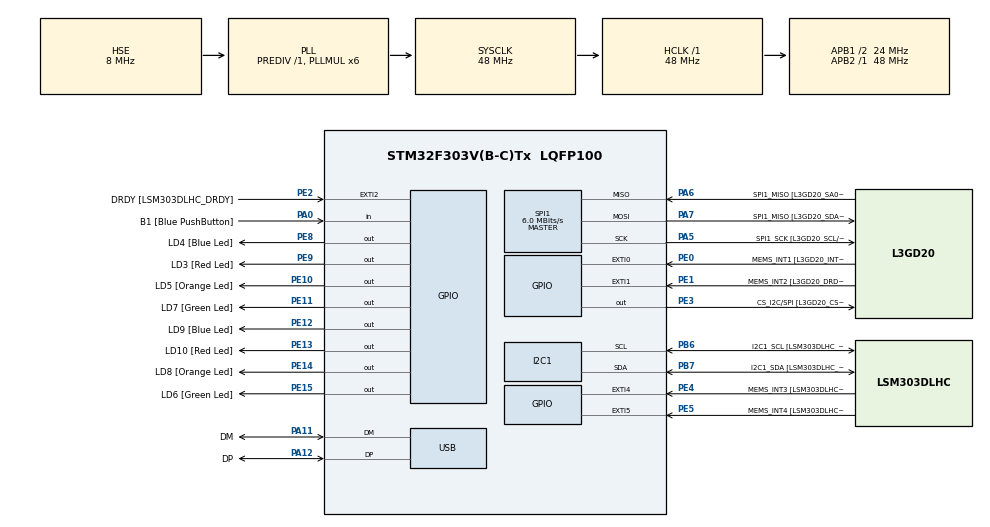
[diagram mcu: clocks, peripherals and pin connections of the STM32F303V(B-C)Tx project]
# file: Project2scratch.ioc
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I2C1.Timing=0x00201D2B
I2C1.Timing-I2C=0x2000090E
Mcu.Family=STM32F3
Mcu.Name=STM32F303V(B-C)Tx
Mcu.Package=LQFP100
NVIC.PriorityGroup=NVIC_PRIORITYGROUP_0
NVIC.USB_LP_CAN_RX0_IRQn=true\:0\:0\:false\:false\:true\:false\:true\:true
PA0.GPIO_Label=B1 [Blue PushButton]
PA0.Signal=GPIO_Input
PA11.GPIO_Label=DM
PA11.Mode=Device
PA11.Signal=USB_DM
PA12.GPIO_Label=DP
PA12.Mode=Device
PA12.Signal=USB_DP
PA13.GPIO_Label=SWDIO
PA13.Mode=Serial_Wire
PA13.Signal=SYS_JTMS-SWDIO
PA14.GPIO_Label=SWCLK
PA14.Mode=Serial_Wire
PA14.Signal=SYS_JTCK-SWCLK
PA5.GPIO_Label=SPI1_SCK [L3GD20_SCL/SPC]
PA5.Mode=Full_Duplex_Master
PA5.Signal=SPI1_SCK
PA6.GPIO_Label=SPI1_MISO [L3GD20_SA0/SDO]
PA6.Mode=Full_Duplex_Master
PA6.Signal=SPI1_MISO
PA7.GPIO_Label=SPI1_MISO [L3GD20_SDA/SDI/SDO]
PA7.Mode=Full_Duplex_Master
PA7.Signal=SPI1_MOSI
PB3.GPIO_Label=SWO
PB3.Signal=SYS_JTDO-TRACESWO
PB6.GPIO_Label=I2C1_SCL [LSM303DLHC_SCL]
PB6.GPIO_Pu=GPIO_PULLUP
PB6.Mode=I2C
PB6.Signal=I2C1_SCL
PB7.GPIO_Label=I2C1_SDA [LSM303DLHC_SDA]
PB7.GPIO_Pu=GPIO_PULLUP
PB7.Mode=I2C
PB7.Signal=I2C1_SDA
PC14-OSC32_IN.GPIO_Label=OSC32_IN
PC14-OSC32_IN.Signal=RCC_OSC32_IN
PC15-OSC32_OUT.GPIO_Label=OSC32_OUT
PC15-OSC32_OUT.Signal=RCC_OSC32_OUT
PE0.GPIO_Label=MEMS_INT1 [L3GD20_INT1]
PE0.GPIO_ModeDefaultEXTI=GPIO_MODE_EVT_RISING
PE0.Signal=GPXTI0
PE1.GPIO_Label=MEMS_INT2 [L3GD20_DRDY/INT2]
PE1.GPIO_ModeDefaultEXTI=GPIO_MODE_EVT_RISING
PE1.Signal=GPXTI1
PE10.GPIO_Label=LD5 [Orange Led]
PE10.Signal=GPIO_Output
PE11.GPIO_Label=LD7 [Green Led]
PE11.Signal=GPIO_Output
PE12.GPIO_Label=LD9 [Blue Led]
PE12.Signal=GPIO_Output
PE13.GPIO_Label=LD10 [Red Led]
PE13.Signal=GPIO_Output
PE14.GPIO_Label=LD8 [Orange Led]
PE14.Signal=GPIO_Output
PE15.GPIO_Label=LD6 [Green Led]
PE15.Signal=GPIO_Output
PE2.GPIO_Label=DRDY [LSM303DLHC_DRDY]
PE2.GPIO_ModeDefaultEXTI=GPIO_MODE_EVT_RISING
PE2.Signal=GPXTI2
PE3.GPIO_Label=CS_I2C/SPI [L3GD20_CS_I2C/SPI]
PE3.Signal=GPIO_Output
PE4.GPIO_Label=MEMS_INT3 [LSM303DLHC_INT1]
PE4.GPIO_ModeDefaultEXTI=GPIO_MODE_EVT_RISING
PE4.Signal=GPXTI4
PE5.GPIO_Label=MEMS_INT4 [LSM303DLHC_INT2]
PE5.GPIO_ModeDefaultEXTI=GPIO_MODE_EVT_RISING
PE5.Signal=GPXTI5
PE8.GPIO_Label=LD4 [Blue Led]
PE8.Signal=GPIO_Output
PE9.GPIO_Label=LD3 [Red Led]
PE9.Signal=GPIO_Output
PF0-OSC_IN.GPIO_Label=OSC_IN
PF0-OSC_IN.Mode=HSE-External-Clock-Source
PF0-OSC_IN.Signal=RCC_OSC_IN
PF1-OSC_OUT.GPIO_Label=OSC_OUT
PF1-OSC_OUT.Signal=RCC_OSC_OUT
ProjectManager.HeapSize=0x200
ProjectManager.StackSize=0x400
ProjectManager.TargetToolchain=STM32CubeIDE
RCC.AHBFreq_Value=48000000
RCC.APB1CLKDivider=RCC_HCLK_DIV2
RCC.APB1Freq_Value=24000000
RCC.APB1TimFreq_Value=48000000
RCC.APB2Freq_Value=48000000
RCC.APB2TimFreq_Value=48000000
RCC.CortexFreq_Value=48000000
RCC.HCLKFreq_Value=48000000
RCC.HSE_VALUE=8000000
RCC.HSI_VALUE=8000000
RCC.LSE_VALUE=32768
RCC.PLLMUL=RCC_PLL_MUL6
RCC.SYSCLKFreq_VALUE=48000000
RCC.SYSCLKSourceVirtual=RCC_SYSCLKSOURCE_PLLCLK
RCC.USBFreq_Value=48000000
SPI1.BaudRatePrescaler=SPI_BAUDRATEPRESCALER_8
SPI1.BaudRatePrescaler-Full_Duplex_Master=SPI_BAUDRATEPRESCALER_2
SPI1.CalculateBaudRate=6.0 MBits/s
SPI1.CalculateBaudRate-Full_Duplex_Master=24.0 MBits/s
SPI1.DataSize=SPI_DATASIZE_8BIT
SPI1.Direction=SPI_DIRECTION_2LINES
SPI1.Mode=SPI_MODE_MASTER
SPI1.Mode-Full_Duplex_Master=SPI_MODE_MASTER
SPI1.VirtualType=VM_MASTER
USB_DEVICE.CLASS_NAME_FS=CDC
USB_DEVICE.VirtualMode=Cdc
USB_DEVICE.VirtualModeFS=Cdc_FS
VP_USB_DEVICE_VS_USB_DEVICE_CDC_FS.Mode=CDC_FS
board=STM32F3DISCOVERY

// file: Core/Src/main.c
/* USER CODE BEGIN Header */
/**
  ******************************************************************************
  * @file           : main.c
  * @brief          : IMU Dead Reckoning – corrected firmware
  *
  * ACCELEROMETER CONVERSION (important to understand)
  * ---------------------------------------------------
  * LSM303DLHC_AccReadXYZ() returns raw 16-bit left-justified counts.
  * At ±2g HR mode: 1g = 16384 counts (12-bit left-justified in 16-bit).
  * Original code:  ax = acc_raw[0] / 16384.0f  → outputs in g-units
  * Python imu_receiver.py then multiplies by 9.81 → correct m/s²
  * This chain was CORRECT. We keep it.
  *
  * What was actually wrong
  * -----------------------
  * 1. Only 100 gyro calibration samples (~1 s) → poor bias estimate.
  *    Increased to 512 samples (~5.4 s) for a far better bias.
  *
  * 2. No accelerometer bias calibration.
  *    Added: collect 512 accel samples, subtract mean XY bias.
  *    Gravity axis is auto-detected and removed from bias.
  *
  * 3. HAL_Delay(10) was AFTER the CDC busy-wait → loop ran slower than
  *    100 Hz when USB was congested. Moved to TOP of loop.
  *
  * 4. Added on-board ZUPT flag as 8th CSV field (0/1).
  *    Python can use this directly without recomputing.
  *
  * 5. Added LED feedback: LD3 blinks during calibration, LD4 flashes
  *    3× when done so you know when to start moving.
  *
  * CSV format (one extra field vs original):
  *   timestamp_ms, ax_g, ay_g, az_g, gx_rads, gy_rads, gz_rads, stationary
  *   ax/ay/az : g-units  (Python × 9.81 → m/s²)
  *   gx/gy/gz : rad/s    (bias subtracted on-board)
  *   stationary : 1 when board is stationary, 0 otherwise
  ******************************************************************************
  */
/* USER CODE END Header */

#include "main.h"
#include "usb_device.h"

/* USER CODE BEGIN Includes */
#include "usbd_cdc_if.h"
#include "stm32f3_discovery.h"
#include "l3gd20.h"
#include "lsm303dlhc.h"
#include <stdio.h>
#include <math.h>
/* USER CODE END Includes */

I2C_HandleTypeDef hi2c1;
SPI_HandleTypeDef hspi1;

/* USER CODE BEGIN PV */

/* Gyro bias in deg/s (subtracted before deg→rad conversion) */
static float gyro_offset[3] = {0.0f, 0.0f, 0.0f};

/* Accel bias in g-units (subtracted after /16384 conversion) */
static float acc_bias[3]    = {0.0f, 0.0f, 0.0f};

/* On-board ZUPT ring buffer – tracks |accel_g| - 1.0 variance */
#define ZUPT_WIN   30
static float   zupt_buf[ZUPT_WIN];
static uint8_t zupt_idx    = 0;
static uint8_t zupt_filled = 0;

/* USER CODE END PV */

void SystemClock_Config(void);
static void MX_GPIO_Init(void);
static void MX_I2C1_Init(void);
static void MX_SPI1_Init(void);

/* USER CODE BEGIN PFP */
static float zupt_variance(void);
/* USER CODE END PFP */

/* USER CODE BEGIN 0 */
static float zupt_variance(void)
{
    uint8_t n = zupt_filled ? ZUPT_WIN : zupt_idx;
    if (n < 2) return 1.0f;
    float sum = 0.0f, var = 0.0f, mean;
    for (uint8_t i = 0; i < n; i++) sum += zupt_buf[i];
    mean = sum / (float)n;
    for (uint8_t i = 0; i < n; i++)
        var += (zupt_buf[i] - mean) * (zupt_buf[i] - mean);
    return var / (float)n;
}
/* USER CODE END 0 */

int main(void)
{
  HAL_Init();
  SystemClock_Config();

  /* ── Peripheral init (ALL must be called before any sensor access) ──────── */
  MX_GPIO_Init();
  MX_I2C1_Init();   /* ← was missing: LSM303DLHC accelerometer uses I2C1     */
  MX_SPI1_Init();   /* ← was missing: L3GD20 gyroscope uses SPI1             */
  MX_USB_DEVICE_Init();

  HAL_Delay(1500);  /* Wait for USB enumeration and sensor power-on */

  /* Force SPI mode for MEMS */
  HAL_GPIO_WritePin(GPIOE, CS_I2C_SPI_Pin, GPIO_PIN_RESET);

  /* ===== Gyroscope init =====
   *
   * L3GD20_Init(uint16_t): LOW byte → CTRL_REG1, HIGH byte → CTRL_REG4
   *
   * Previous attempt put L3GD20_BlockDataUpdate_Single (0x80) in the
   * OR expression with the other 8-bit values, so it ended up in
   * CTRL_REG1 (bit 7, which corrupts ODR) — NOT in CTRL_REG4.
   * BDU was never actually set.
   *
   * FIX: shift BDU and FS into the HIGH byte explicitly.
   *   CTRL_REG1 (low byte)  = ODR2 | ACTIVE | AXES | BW4
   *                         = 0x40 | 0x08   | 0x07 | 0x30 = 0x7F
   *   CTRL_REG4 (high byte) = BDU  | BLE_LSB | FS_250
   *                         = 0x80 | 0x00    | 0x00  = 0x80
   *   Combined uint16_t     = 0x807F
   */
  GYRO_IO_Init();
  L3GD20_Init(0x807F);
  /* 0x807F:
   *   CTRL_REG1 = 0x7F: DR=01(190Hz) PD=1 Zen=Yen=Xen=1 BW=11(70Hz cutoff)
   *   CTRL_REG4 = 0x80: BDU=1 BLE=0 FS=00(250dps) ST=0
   */

  /* ===== Accelerometer init =====
   *
   * LSM303DLHC_AccInit(uint16_t): LOW byte → CTRL_REG1,
   *   (uint8_t)(InitStruct << 8) → CTRL_REG4  (this is a driver bug —
   *   the shift produces 0x00 always when all values are 8-bit).
   *
   * FIX: call LSM303DLHC_AccInit with only CTRL_REG1 values (low byte),
   * then write CTRL_REG4 directly via COMPASSACCELERO_IO_Write.
   *
   *   CTRL_REG1 = ODR_200Hz | AXES_ENABLE | NORMAL_MODE
   *             = 0x60      | 0x07        | 0x00 = 0x67
   *   CTRL_REG4 = BDU | HR | FS_2G
   *             = 0x80| 0x08| 0x00 = 0x88   (written directly)
   */
  LSM303DLHC_AccInit(0x0067);          /* CTRL_REG1 only: ODR200+axes */
  COMPASSACCELERO_IO_Write(ACC_I2C_ADDRESS,
                           LSM303DLHC_CTRL_REG4_A,
                           0x88);      /* BDU=1, HR=1, FS=±2g */

  /* =========================================================
   * CALIBRATION  (512 samples ≈ 5.4 s at ~95 Hz gyro ODR)
   *
   * Keep the board COMPLETELY STILL on a flat surface.
   * LD3 (orange) blinks every 32 samples.
   * LD4 (green)  flashes 3× when calibration is complete.
   * ========================================================= */
#define CAL_N  512

  float    tmp_g[3]  = {0};
  int16_t  tmp_a[3]  = {0};
  float    sum_g[3]  = {0.0f, 0.0f, 0.0f};
  float    sum_a[3]  = {0.0f, 0.0f, 0.0f};

  for (int i = 0; i < CAL_N; i++)
  {
    /* Blink LD3 every 32 samples so user sees progress */
    if ((i & 31) == 0)
      BSP_LED_Toggle(LED3);

    /* Gyro – read raw deg/s */
    L3GD20_ReadXYZAngRate(tmp_g);
    sum_g[0] += tmp_g[0];
    sum_g[1] += tmp_g[1];
    sum_g[2] += tmp_g[2];

    /* Accel – read raw counts, convert to g-units (/16384) */
    LSM303DLHC_AccReadXYZ(tmp_a);
    sum_a[0] += tmp_a[0] / 16384.0f;
    sum_a[1] += tmp_a[1] / 16384.0f;
    sum_a[2] += tmp_a[2] / 16384.0f;

    HAL_Delay(10);
  }
  BSP_LED_Off(LED3);

  /* Gyro bias: mean reading while stationary */
  gyro_offset[0] = sum_g[0] / (float)CAL_N;
  gyro_offset[1] = sum_g[1] / (float)CAL_N;
  gyro_offset[2] = sum_g[2] / (float)CAL_N;

  /* Accel bias:
   *   Horizontal axes: mean ≈ 0 g  → bias = mean
   *   Gravity axis   : mean ≈ ±1 g → bias = mean - sign(mean)*1.0
   *
   * Auto-detect gravity axis = axis with largest |mean|.
   */
  float ma[3];
  ma[0] = sum_a[0] / (float)CAL_N;
  ma[1] = sum_a[1] / (float)CAL_N;
  ma[2] = sum_a[2] / (float)CAL_N;

  uint8_t gax = 0;
  if (fabsf(ma[1]) > fabsf(ma[gax])) gax = 1;
  if (fabsf(ma[2]) > fabsf(ma[gax])) gax = 2;

  acc_bias[0] = ma[0];
  acc_bias[1] = ma[1];
  acc_bias[2] = ma[2];
  /* Remove the 1 g of gravity from the vertical axis bias */
  acc_bias[gax] -= (ma[gax] >= 0.0f ? 1.0f : -1.0f);

  /* Flash LD4 (green) 3× = done, safe to move */
  for (int i = 0; i < 3; i++)
  {
    BSP_LED_On(LED4);  HAL_Delay(200);
    BSP_LED_Off(LED4); HAL_Delay(200);
  }

  /* ===== Main loop ===== */
  while (1)
  {
    /* Delay at TOP for stable 100 Hz regardless of USB busy time */
    HAL_Delay(10);

    /* --- Gyro ---
     * Read deg/s, subtract calibrated bias, convert to rad/s.
     */
    float g[3] = {0.0f};
    L3GD20_ReadXYZAngRate(g);
    g[0] = (g[0] - gyro_offset[0]) * 0.0174533f;
    g[1] = (g[1] - gyro_offset[1]) * 0.0174533f;
    g[2] = (g[2] - gyro_offset[2]) * 0.0174533f;

    /* --- Accelerometer ---
     * Read raw counts → divide by 16384 → g-units → subtract bias.
     * Python imu_receiver.py multiplies by 9.81 to get m/s².
     * This is the SAME conversion as the original firmware.
     */
    int16_t acc_raw[3] = {0};
    LSM303DLHC_AccReadXYZ(acc_raw);

    float ax = acc_raw[0] / 16384.0f - acc_bias[0];
    float ay = acc_raw[1] / 16384.0f - acc_bias[1];
    float az = acc_raw[2] / 16384.0f - acc_bias[2];

    /* --- On-board ZUPT detector ---
     * Variance of (|accel_g| - 1.0) over 30 samples.
     * Low variance + low gyro magnitude = stationary.
     */
    float a_mag = sqrtf(ax*ax + ay*ay + az*az);
    zupt_buf[zupt_idx] = a_mag - 1.0f;   /* residual vs gravity in g */
    zupt_idx = (zupt_idx + 1) % ZUPT_WIN;
    if (zupt_idx == 0) zupt_filled = 1;

    float g_mag  = sqrtf(g[0]*g[0] + g[1]*g[1] + g[2]*g[2]);
    float var    = zupt_variance();
    /* ZUPT thresholds — must fire reliably when robot is stationary.
     * Too tight → never fires → gyro bias drift accumulates → yaw ramp.
     * Too loose → fires while moving → position jumps to wrong place.
     *
     * var  < 0.01  : accel variance in g² (fan+vibration ≈ 0.001–0.005 on flat surface)
     * g_mag< 0.10  : raw gyro magnitude rad/s (L3GD20 bias ≈ 0.01–0.05 rad/s)
     */
    uint8_t stat = (var < 0.01f && g_mag < 0.10f) ? 1u : 0u;

    /* --- Transmit CSV ---
     * Format: timestamp_ms, ax, ay, az, gx, gy, gz, stationary
     * ax/ay/az in g-units (Python multiplies by 9.81 for m/s²)
     * gx/gy/gz in rad/s
     */
    uint32_t t = HAL_GetTick();
    char msg[128];
    int len = sprintf(msg,
                      "%lu,%.6f,%.6f,%.6f,%.6f,%.6f,%.6f,%u\r\n",
                      t, ax, ay, az, g[0], g[1], g[2], stat);

    uint8_t retries = 5;
    while (CDC_Transmit_FS((uint8_t*)msg, (uint16_t)len) == USBD_BUSY && retries--)
    {
      HAL_Delay(1);
    }
  }
}

/* ── Clock and peripheral init (unchanged from original) ─────────────────── */

void SystemClock_Config(void)
{
  RCC_OscInitTypeDef RCC_OscInitStruct = {0};
  RCC_ClkInitTypeDef RCC_ClkInitStruct = {0};
  RCC_PeriphCLKInitTypeDef PeriphClkInit = {0};

  RCC_OscInitStruct.OscillatorType = RCC_OSCILLATORTYPE_HSI | RCC_OSCILLATORTYPE_HSE;
  RCC_OscInitStruct.HSEState = RCC_HSE_BYPASS;
  RCC_OscInitStruct.HSEPredivValue = RCC_HSE_PREDIV_DIV1;
  RCC_OscInitStruct.HSIState = RCC_HSI_ON;
  RCC_OscInitStruct.HSICalibrationValue = RCC_HSICALIBRATION_DEFAULT;
  RCC_OscInitStruct.PLL.PLLState = RCC_PLL_ON;
  RCC_OscInitStruct.PLL.PLLSource = RCC_PLLSOURCE_HSE;
  RCC_OscInitStruct.PLL.PLLMUL = RCC_PLL_MUL6;
  if (HAL_RCC_OscConfig(&RCC_OscInitStruct) != HAL_OK) Error_Handler();

  RCC_ClkInitStruct.ClockType = RCC_CLOCKTYPE_HCLK | RCC_CLOCKTYPE_SYSCLK
                               | RCC_CLOCKTYPE_PCLK1 | RCC_CLOCKTYPE_PCLK2;
  RCC_ClkInitStruct.SYSCLKSource = RCC_SYSCLKSOURCE_PLLCLK;
  RCC_ClkInitStruct.AHBCLKDivider = RCC_SYSCLK_DIV1;
  RCC_ClkInitStruct.APB1CLKDivider = RCC_HCLK_DIV2;
  RCC_ClkInitStruct.APB2CLKDivider = RCC_HCLK_DIV1;
  if (HAL_RCC_ClockConfig(&RCC_ClkInitStruct, FLASH_LATENCY_1) != HAL_OK) Error_Handler();

  PeriphClkInit.PeriphClockSelection = RCC_PERIPHCLK_USB | RCC_PERIPHCLK_I2C1;
  PeriphClkInit.I2c1ClockSelection = RCC_I2C1CLKSOURCE_HSI;
  PeriphClkInit.USBClockSelection = RCC_USBCLKSOURCE_PLL;
  if (HAL_RCCEx_PeriphCLKConfig(&PeriphClkInit) != HAL_OK) Error_Handler();
}

static void MX_I2C1_Init(void)
{
  hi2c1.Instance = I2C1;
  hi2c1.Init.Timing = 0x00201D2B;
  hi2c1.Init.OwnAddress1 = 0;
  hi2c1.Init.AddressingMode = I2C_ADDRESSINGMODE_7BIT;
  hi2c1.Init.DualAddressMode = I2C_DUALADDRESS_DISABLE;
  hi2c1.Init.OwnAddress2 = 0;
  hi2c1.Init.OwnAddress2Masks = I2C_OA2_NOMASK;
  hi2c1.Init.GeneralCallMode = I2C_GENERALCALL_DISABLE;
  hi2c1.Init.NoStretchMode = I2C_NOSTRETCH_DISABLE;
  if (HAL_I2C_Init(&hi2c1) != HAL_OK) Error_Handler();
  if (HAL_I2CEx_ConfigAnalogFilter(&hi2c1, I2C_ANALOGFILTER_ENABLE) != HAL_OK) Error_Handler();
  if (HAL_I2CEx_ConfigDigitalFilter(&hi2c1, 0) != HAL_OK) Error_Handler();
}

static void MX_SPI1_Init(void)
{
  hspi1.Instance = SPI1;
  hspi1.Init.Mode = SPI_MODE_MASTER;
  hspi1.Init.Direction = SPI_DIRECTION_2LINES;
  hspi1.Init.DataSize = SPI_DATASIZE_8BIT;
  hspi1.Init.CLKPolarity = SPI_POLARITY_HIGH;
  hspi1.Init.CLKPhase = SPI_PHASE_2EDGE;
  hspi1.Init.NSS = SPI_NSS_SOFT;
  hspi1.Init.BaudRatePrescaler = SPI_BAUDRATEPRESCALER_16;
  hspi1.Init.FirstBit = SPI_FIRSTBIT_MSB;
  hspi1.Init.TIMode = SPI_TIMODE_DISABLE;
  hspi1.Init.CRCCalculation = SPI_CRCCALCULATION_DISABLE;
  hspi1.Init.CRCPolynomial = 7;
  hspi1.Init.CRCLength = SPI_CRC_LENGTH_DATASIZE;
  hspi1.Init.NSSPMode = SPI_NSS_PULSE_DISABLE;
  if (HAL_SPI_Init(&hspi1) != HAL_OK) Error_Handler();
}

static void MX_GPIO_Init(void)
{
  GPIO_InitTypeDef GPIO_InitStruct = {0};

  __HAL_RCC_GPIOE_CLK_ENABLE();
  __HAL_RCC_GPIOC_CLK_ENABLE();
  __HAL_RCC_GPIOF_CLK_ENABLE();
  __HAL_RCC_GPIOA_CLK_ENABLE();
  __HAL_RCC_GPIOB_CLK_ENABLE();

  HAL_GPIO_WritePin(GPIOE, CS_I2C_SPI_Pin|LD4_Pin|LD3_Pin|LD5_Pin
                           |LD7_Pin|LD9_Pin|LD10_Pin|LD8_Pin|LD6_Pin,
                   GPIO_PIN_RESET);

  GPIO_InitStruct.Pin = DRDY_Pin|MEMS_INT3_Pin|MEMS_INT4_Pin
                       |MEMS_INT1_Pin|MEMS_INT2_Pin;
  GPIO_InitStruct.Mode = GPIO_MODE_EVT_RISING;
  GPIO_InitStruct.Pull = GPIO_NOPULL;
  HAL_GPIO_Init(GPIOE, &GPIO_InitStruct);

  GPIO_InitStruct.Pin = CS_I2C_SPI_Pin|LD4_Pin|LD3_Pin|LD5_Pin
                       |LD7_Pin|LD9_Pin|LD10_Pin|LD8_Pin|LD6_Pin;
  GPIO_InitStruct.Mode = GPIO_MODE_OUTPUT_PP;
  GPIO_InitStruct.Pull = GPIO_NOPULL;
  GPIO_InitStruct.Speed = GPIO_SPEED_FREQ_LOW;
  HAL_GPIO_Init(GPIOE, &GPIO_InitStruct);

  GPIO_InitStruct.Pin = B1_Pin;
  GPIO_InitStruct.Mode = GPIO_MODE_INPUT;
  GPIO_InitStruct.Pull = GPIO_NOPULL;
  HAL_GPIO_Init(B1_GPIO_Port, &GPIO_InitStruct);
}

void Error_Handler(void)
{
  __disable_irq();
  while (1) {}
}
